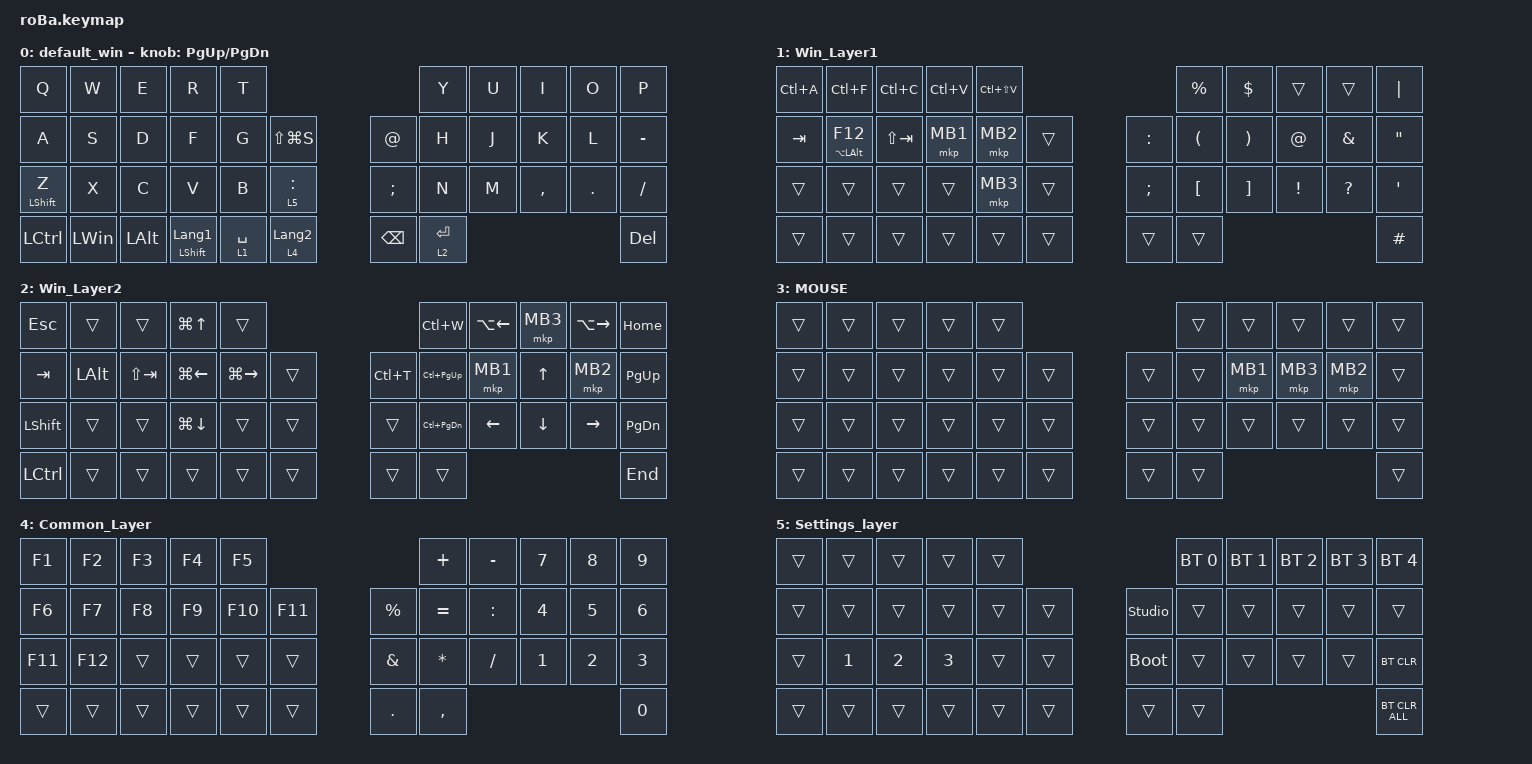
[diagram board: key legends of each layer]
#include <behaviors.dtsi>
#include <dt-bindings/zmk/bt.h>
#include <dt-bindings/zmk/keys.h>
#include <dt-bindings/zmk/pointing.h>

#define MOUSE 3
#define SCROLL 4

&mt {
    flavor = "balanced";
    quick-tap-ms = <0>;
};

/ {
    combos {
        compatible = "zmk,combos";

        tab {
            bindings = <&kp TAB>;
            key-positions = <11 10>;
        };

        shift_tab {
            bindings = <&kp LS(TAB)>;
            key-positions = <12 11>;
        };

        muhennkann {
            bindings = <&to_layer_0 INT_MUHENKAN>;
            key-positions = <0 1>;
        };

        double_quotation {
            bindings = <&kp DOUBLE_QUOTES>;
            key-positions = <20 21>;
        };

        eq {
            bindings = <&kp EQUAL>;
            key-positions = <24 25>;
        };
    };

    macros {
        to_layer_0: to_layer_0 {
            compatible = "zmk,behavior-macro-one-param";
            #binding-cells = <1>;
            bindings = <&to 0 &macro_param_1to1 &kp MACRO_PLACEHOLDER>;
            label = "TO_LAYER_0";
        };
    };

    behaviors {
        lt_to_layer_0: lt_to_layer_0 {
            compatible = "zmk,behavior-hold-tap";
            label = "LAYER_TAP_TO_0";
            bindings = <&mo>, <&to_layer_0>;

            #binding-cells = <2>;
            tapping-term-ms = <200>;
        };
    };

    keymap {
        compatible = "zmk,keymap";

        default_win {
            bindings = <
&kp Q             &kp W         &kp E         &kp R                      &kp T                                                        &kp Y        &kp U  &kp I      &kp O    &kp P
&kp A             &kp S         &kp D         &kp F                      &kp G        &kp LS(LG(S))                    &kp AT_SIGN    &kp H        &kp J  &kp K      &kp L    &kp MINUS
&mt LEFT_SHIFT Z  &kp X         &kp C         &kp V                      &kp B        &lt 5 COLON                      &kp SEMICOLON  &kp N        &kp M  &kp COMMA  &kp DOT  &kp SLASH
&kp LCTRL         &kp LEFT_WIN  &kp LEFT_ALT  &mt LEFT_SHIFT LANGUAGE_1  &lt 1 SPACE  &lt_to_layer_0 4 LANGUAGE_2      &kp BACKSPACE  &lt 2 ENTER                             &kp DEL
            >;

            sensor-bindings = <&inc_dec_kp PG_UP PAGE_DOWN>;
        };

        Win_Layer1 {
            bindings = <
&kp LC(A)  &kp LC(F)             &kp LC(C)    &kp LC(V)  &kp LC(LS(V))                             &kp PERCENT           &kp DOLLAR             &trans           &trans         &kp PIPE
&kp TAB    &mt LA(LEFT_ALT) F12  &kp LS(TAB)  &mkp MB1   &mkp MB2       &trans      &kp COLON      &kp LEFT_PARENTHESIS  &kp RIGHT_PARENTHESIS  &kp AT_SIGN      &kp AMPERSAND  &kp DOUBLE_QUOTES
&trans     &trans                &trans       &trans     &mkp MB3       &trans      &kp SEMICOLON  &kp LEFT_BRACKET      &kp RIGHT_BRACKET      &kp EXCLAMATION  &kp QUESTION   &kp SINGLE_QUOTE
&trans     &trans                &trans       &trans     &trans         &trans      &trans         &trans                                                                       &kp HASH
            >;
        };

        Win_Layer2 {
            bindings = <
&kp ESC         &trans        &trans       &kp LG(UP_ARROW)    &trans                                      &kp LC(W)          &kp LA(LEFT_ARROW)  &mkp MB3  &kp LA(RIGHT_ARROW)  &kp HOME
&kp TAB         &kp LEFT_ALT  &kp LS(TAB)  &kp LG(LEFT_ARROW)  &kp LG(RIGHT_ARROW)  &trans      &kp LC(T)  &kp LC(PAGE_UP)    &mkp MB1            &kp UP    &mkp MB2             &kp PG_UP
&kp LEFT_SHIFT  &trans        &trans       &kp LG(DOWN_ARROW)  &trans               &trans      &trans     &kp LC(PAGE_DOWN)  &kp LEFT            &kp DOWN  &kp RIGHT            &kp PG_DN
&kp LCTRL       &trans        &trans       &trans              &trans               &trans      &trans     &trans                                                                &kp END
            >;
        };

        MOUSE {
            bindings = <
&trans  &trans  &trans  &trans  &trans                      &trans  &trans    &trans    &trans    &trans
&trans  &trans  &trans  &trans  &trans  &trans      &trans  &trans  &mkp MB1  &mkp MB3  &mkp MB2  &trans
&trans  &trans  &trans  &trans  &trans  &trans      &trans  &trans  &trans    &trans    &trans    &trans
&trans  &trans  &trans  &trans  &trans  &trans      &trans  &trans                                &trans
            >;
        };

        Common_Layer {
            bindings = <
&kp F1   &kp F2   &kp F3  &kp F4  &kp F5                               &kp PLUS      &kp MINUS  &kp N7        &kp N8  &kp N9
&kp F6   &kp F7   &kp F8  &kp F9  &kp F10  &kp F11      &kp PERCENT    &kp EQUAL     &kp COLON  &kp NUMBER_4  &kp N5  &kp N6
&kp F11  &kp F12  &trans  &trans  &trans   &trans       &kp AMPERSAND  &kp ASTERISK  &kp SLASH  &kp N1        &kp N2  &kp N3
&trans   &trans   &trans  &trans  &trans   &trans       &kp PERIOD     &kp COMMA                                      &kp N0
            >;
        };

        Settings_layer {
            bindings = <
&trans  &trans        &trans        &trans        &trans                              &bt BT_SEL 0  &bt BT_SEL 1  &bt BT_SEL 2  &bt BT_SEL 3  &bt BT_SEL 4
&trans  &trans        &trans        &trans        &trans  &trans      &studio_unlock  &trans        &trans        &trans        &trans        &trans
&trans  &kp NUMBER_1  &kp NUMBER_2  &kp NUMBER_3  &trans  &trans      &bootloader     &trans        &trans        &trans        &trans        &bt BT_CLR
&trans  &trans        &trans        &trans        &trans  &trans      &trans          &trans                                                  &bt BT_CLR_ALL
            >;
        };
    };
};
